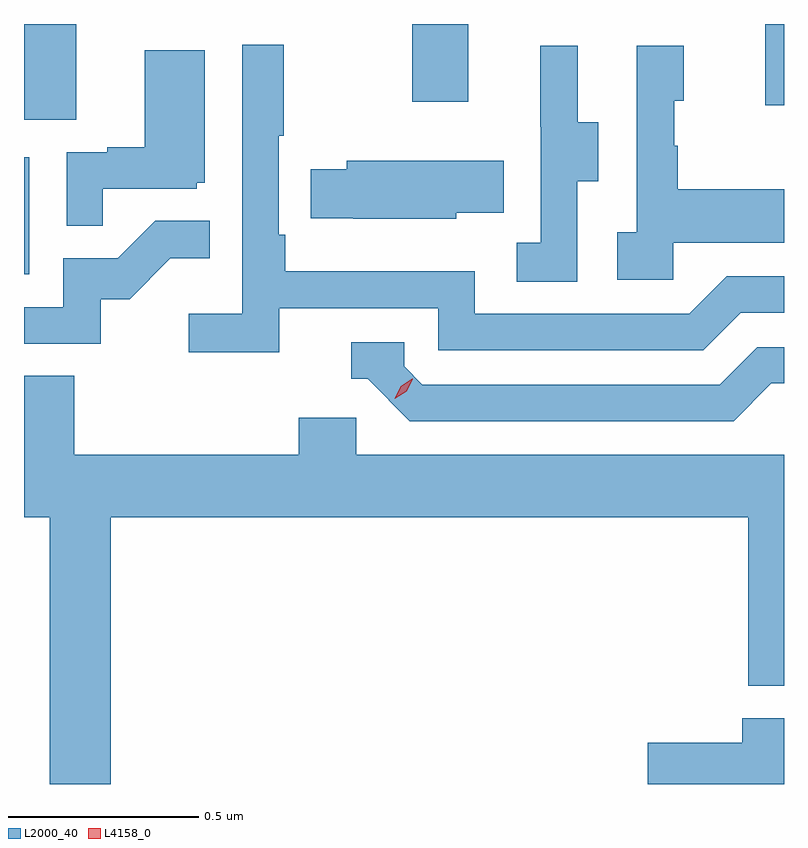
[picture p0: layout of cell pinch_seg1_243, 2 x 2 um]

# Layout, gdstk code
import gdstk
lib = gdstk.Library(unit=1e-6, precision=1e-09)
def R(c, l, rs):  # rectangles x0, y0, x1, y1
    for r in rs: c.add(gdstk.rectangle(r[:2], r[2:], *l))
def P(c, l, *ps):  # polygons
    for p in ps: c.add(gdstk.Polygon(p, *l))
L2000_40 = (2000, 40)
L4158_0 = (4158, 0)

pinch_seg1_243 = lib.new_cell('pinch_seg1_243')
R(pinch_seg1_243, L2000_40, [(923.156,565.692,923.17,565.999), (923.156,566.098,923.293,566.35), (925.106,566.136,925.156,566.35), (924.178,566.145,924.325,566.35)])
P(pinch_seg1_243, L2000_40, [(923.828,565.602),(924.246,565.602),(924.246,565.491),(924.943,565.491),(925.042,565.59),(925.156,565.59),(925.156,565.686),(925.005,565.686),(924.906,565.587),(924.342,565.587),(924.342,565.699),(923.843,565.699),(923.843,565.795),(923.826,565.795),(923.826,566.056),(923.839,566.056),(923.839,566.296),(923.73,566.296),(923.73,565.588),(923.589,565.588),(923.589,565.486),(923.828,565.486)],
  [(924.864,565.775),(925.156,565.775),(925.156,565.915),(924.877,565.915),(924.877,566.03),(924.867,566.03),(924.867,566.148),(924.892,566.148),(924.892,566.293),(924.768,566.293),(924.768,565.802),(924.717,565.802),(924.717,565.677),(924.864,565.677)],
  [(924.612,565.936),(924.667,565.936),(924.667,566.091),(924.613,566.091),(924.613,566.293),(924.515,566.293),(924.515,566.079),(924.516,566.079),(924.516,565.775),(924.453,565.775),(924.453,565.672),(924.612,565.672)],
  [(923.363,565.917),(923.61,565.917),(923.61,565.932),(923.632,565.932),(923.632,566.281),(923.474,566.281),(923.474,566.026),(923.375,566.026),(923.375,566.013),(923.268,566.013),(923.268,565.819),(923.363,565.819)],
  [(924.294,565.853),(924.419,565.853),(924.419,565.99),(924.005,565.99),(924.005,565.968),(923.911,565.968),(923.911,565.839),(924.022,565.839),(924.022,565.838),(924.294,565.838)],
  [(923.358,565.626),(923.434,565.626),(923.541,565.733),(923.645,565.733),(923.645,565.832),(923.501,565.832),(923.403,565.734),(923.259,565.734),(923.259,565.605),(923.156,565.605),(923.156,565.509),(923.358,565.509)],
  [(925.123,565.404),(925.156,565.404),(925.156,565.5),(925.086,565.5),(924.987,565.401),(924.204,565.401),(924.156,565.449),(924.156,565.512),(924.017,565.512),(924.017,565.416),(924.06,565.416),(924.171,565.305),(925.024,565.305)],
  [(923.384,565.052),(925.062,565.052),(925.062,564.608),(925.156,564.608),(925.156,565.216),(924.03,565.216),(924.03,565.314),(923.879,565.314),(923.879,565.216),(923.288,565.216),(923.288,565.424),(923.156,565.424),(923.156,565.052),(923.224,565.052),(923.224,564.35),(923.384,564.35)],
  [(925.156,564.523),(925.046,564.523),(925.046,564.458),(924.798,564.458),(924.798,564.35),(925.156,564.35)])
P(pinch_seg1_243, L4158_0, [(924.132,565.364),(924.132,565.364),(924.148,565.397),(924.178,565.416),(924.179,565.416),(924.179,565.416),(924.163,565.383),(924.132,565.364)])

lib.write_gds('pinch_seg1_243.gds')
